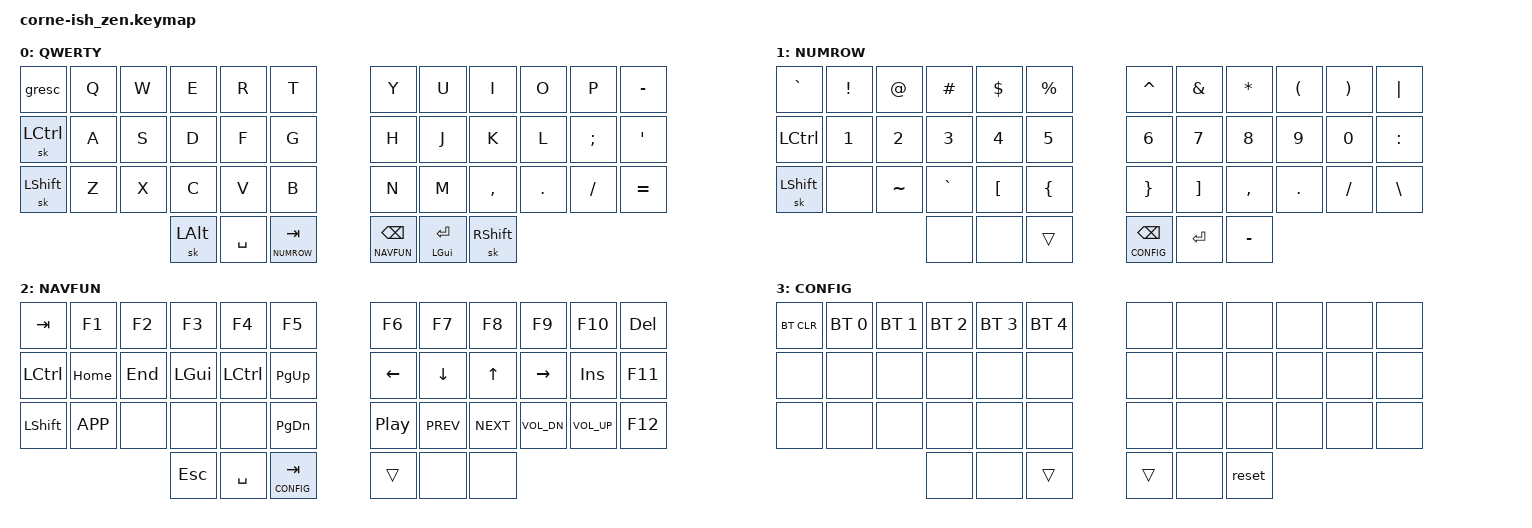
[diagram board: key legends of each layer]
/*
*
* Copyright (c) 2021 lowprokb.ca
* SPDX-License-Identifier: MIT
*
*/

#include <behaviors.dtsi>
#include <dt-bindings/zmk/keys.h>
#include <dt-bindings/zmk/bt.h>

#define QWERTY 0
#define NUMROW 1
#define NAVFUN 2
#define CONFIG 3


/ {
        keymap {
                compatible = "zmk,keymap";

                default_layer {
                        label = "QWERTY";

// QWERTY-----------------------------------------------------------------------------------
// | Esc`    |  Q  |  W  |  E  |  R  |  T  |-----|  Y  |  U   |  I  |  O  |  P  |  -   |
// | Sk CTRL |  A  |  S  |  D  |  F  |  G  |-----|  H  |  J   |  K  |  L  |  ;  |  '   |
// | Sk SHFT |  Z  |  X  |  C  |  V  |  B  |-----|  N  |  M   |  ,  |  .  |  /  |  =   |
//               | Sk ALT | SPC | TAB(num) |-----| BKSP | ENTER/GUI  | SHIFT |

                        bindings = <
   &gresc    &kp Q &kp W &kp E &kp R &kp T       &kp Y &kp U &kp I    &kp O   &kp P    &kp MINUS
   &sk LCTRL &kp A &kp S &kp D &kp F &kp G       &kp H &kp J &kp K    &kp L   &kp SEMI &kp SQT
   &sk LSHFT &kp Z &kp X &kp C &kp V &kp B       &kp N &kp M &kp CMMA &kp DOT &kp FSLH &kp EQUAL
             &sk LALT &kp SPACE &lt NUMROW TAB    &lt NAVFUN BSPC &mt LGUI RET &sk RSHFT
                        >;
                };

                numrow_layer {
                        label = "NUMROW";

// NUMROW-----------------------------------------------------------------------------------
// | `~       |  !  |  @  |  #  |  $  |  %  |-----|  ^  |  &   |  *  |  (  |  )  |  |   |
// | CTRL     |  1  |  2  |  3  |  4  |  5  |-----|  6  |  7   |  8  |  9  |  0  |  :   |
// | SK LSHFT |     |  ~  |  `~ |  [  |  {  |-----|  }  |  ]   |  ,  |  .  |  /  |  \   |
//                    |     |     |     |-----| BKSP | ENTER  | MINUS |

                        bindings = <
   &kp GRAVE &kp EXCL &kp AT    &kp HASH  &kp DLLR &kp PRCNT &kp CARET &kp AMPS &kp STAR &kp LPAR &kp RPAR &kp PIPE
   &kp LCTRL &kp N1   &kp N2    &kp N3    &kp N4   &kp N5    &kp N6    &kp N7   &kp N8   &kp N9   &kp N0   &kp COLON
   &sk LSHFT &none    &kp TILDE &kp GRAVE &kp LBKT &kp LBRC  &kp RBRC  &kp RBKT &kp CMMA &kp DOT  &kp FSLH &kp BSLH
                        &none &none &trans         &lt CONFIG BSPC &kp RET &kp MINUS
                        >;
                };

                navfun_layer {
                        label = "NAVFUN";

// NAVFUN-----------------------------------------------------------------------------------
// |  TAB | F1  | F2  | F3  | F4  | F5   |-----| F6  | F7  | F8  | F9  | F10 | DEL  |
// |LCTRL | HOME| END | GUI | LCTL| PGUP |-----| LFT | DWN | UP  | RGT | INS | F11  |
// |LSHFT | RApp|     |     |     | PGDN |-----| play| prv | next| vol-| vol+| F12  |
//                    | ESC | SPC | TAB  |-----|     |     |     |

                        bindings = <
   &kp TAB   &kp F1    &kp F2  &kp F3    &kp F4    &kp F5    &kp F6    &kp F7     &kp F8     &kp F9       &kp F10      &kp DEL
   &kp LCTRL &kp HOME  &kp END &kp LGUI  &kp LCTRL &kp PG_UP &kp LEFT  &kp DOWN   &kp UP     &kp RIGHT    &kp INSERT      &kp F11
   &kp LSHFT &kp K_APP &none   &none     &none     &kp PG_DN &kp C_PP  &kp C_PREV &kp C_NEXT &kp C_VOL_DN &kp C_VOL_UP &kp F12
                      &kp ESC &kp SPACE &lt CONFIG TAB    &trans &none &none
                        >;
                };

                config_layer {
                        label = "CONFIG";
// CONFIG-----------------------------------------------------------------------------------
// |BTCLR | BT0 | BT1 | BT2 | BT3 | BT4 |-----|     |     |     |     |     |      |
// |      |     |     |     |     |     |-----|     |     |     |     |     |      |
// |      |     |     |     |     |     |-----|     |     |     |     |     |      |
//                    |     |     |     |-----|     |     |reset|
                        bindings = <
   &bt BT_CLR &bt BT_SEL 0 &bt BT_SEL 1 &bt BT_SEL 2 &bt BT_SEL 3 &bt BT_SEL 4    &none &none &none &none &none &none
   &none      &none        &none        &none        &none        &none           &none &none &none &none &none &none 
   &none      &none        &none        &none        &none        &none           &none &none &none &none &none &none
                           &none &none &trans &trans &none &reset
                        >;
                };
        };
};
